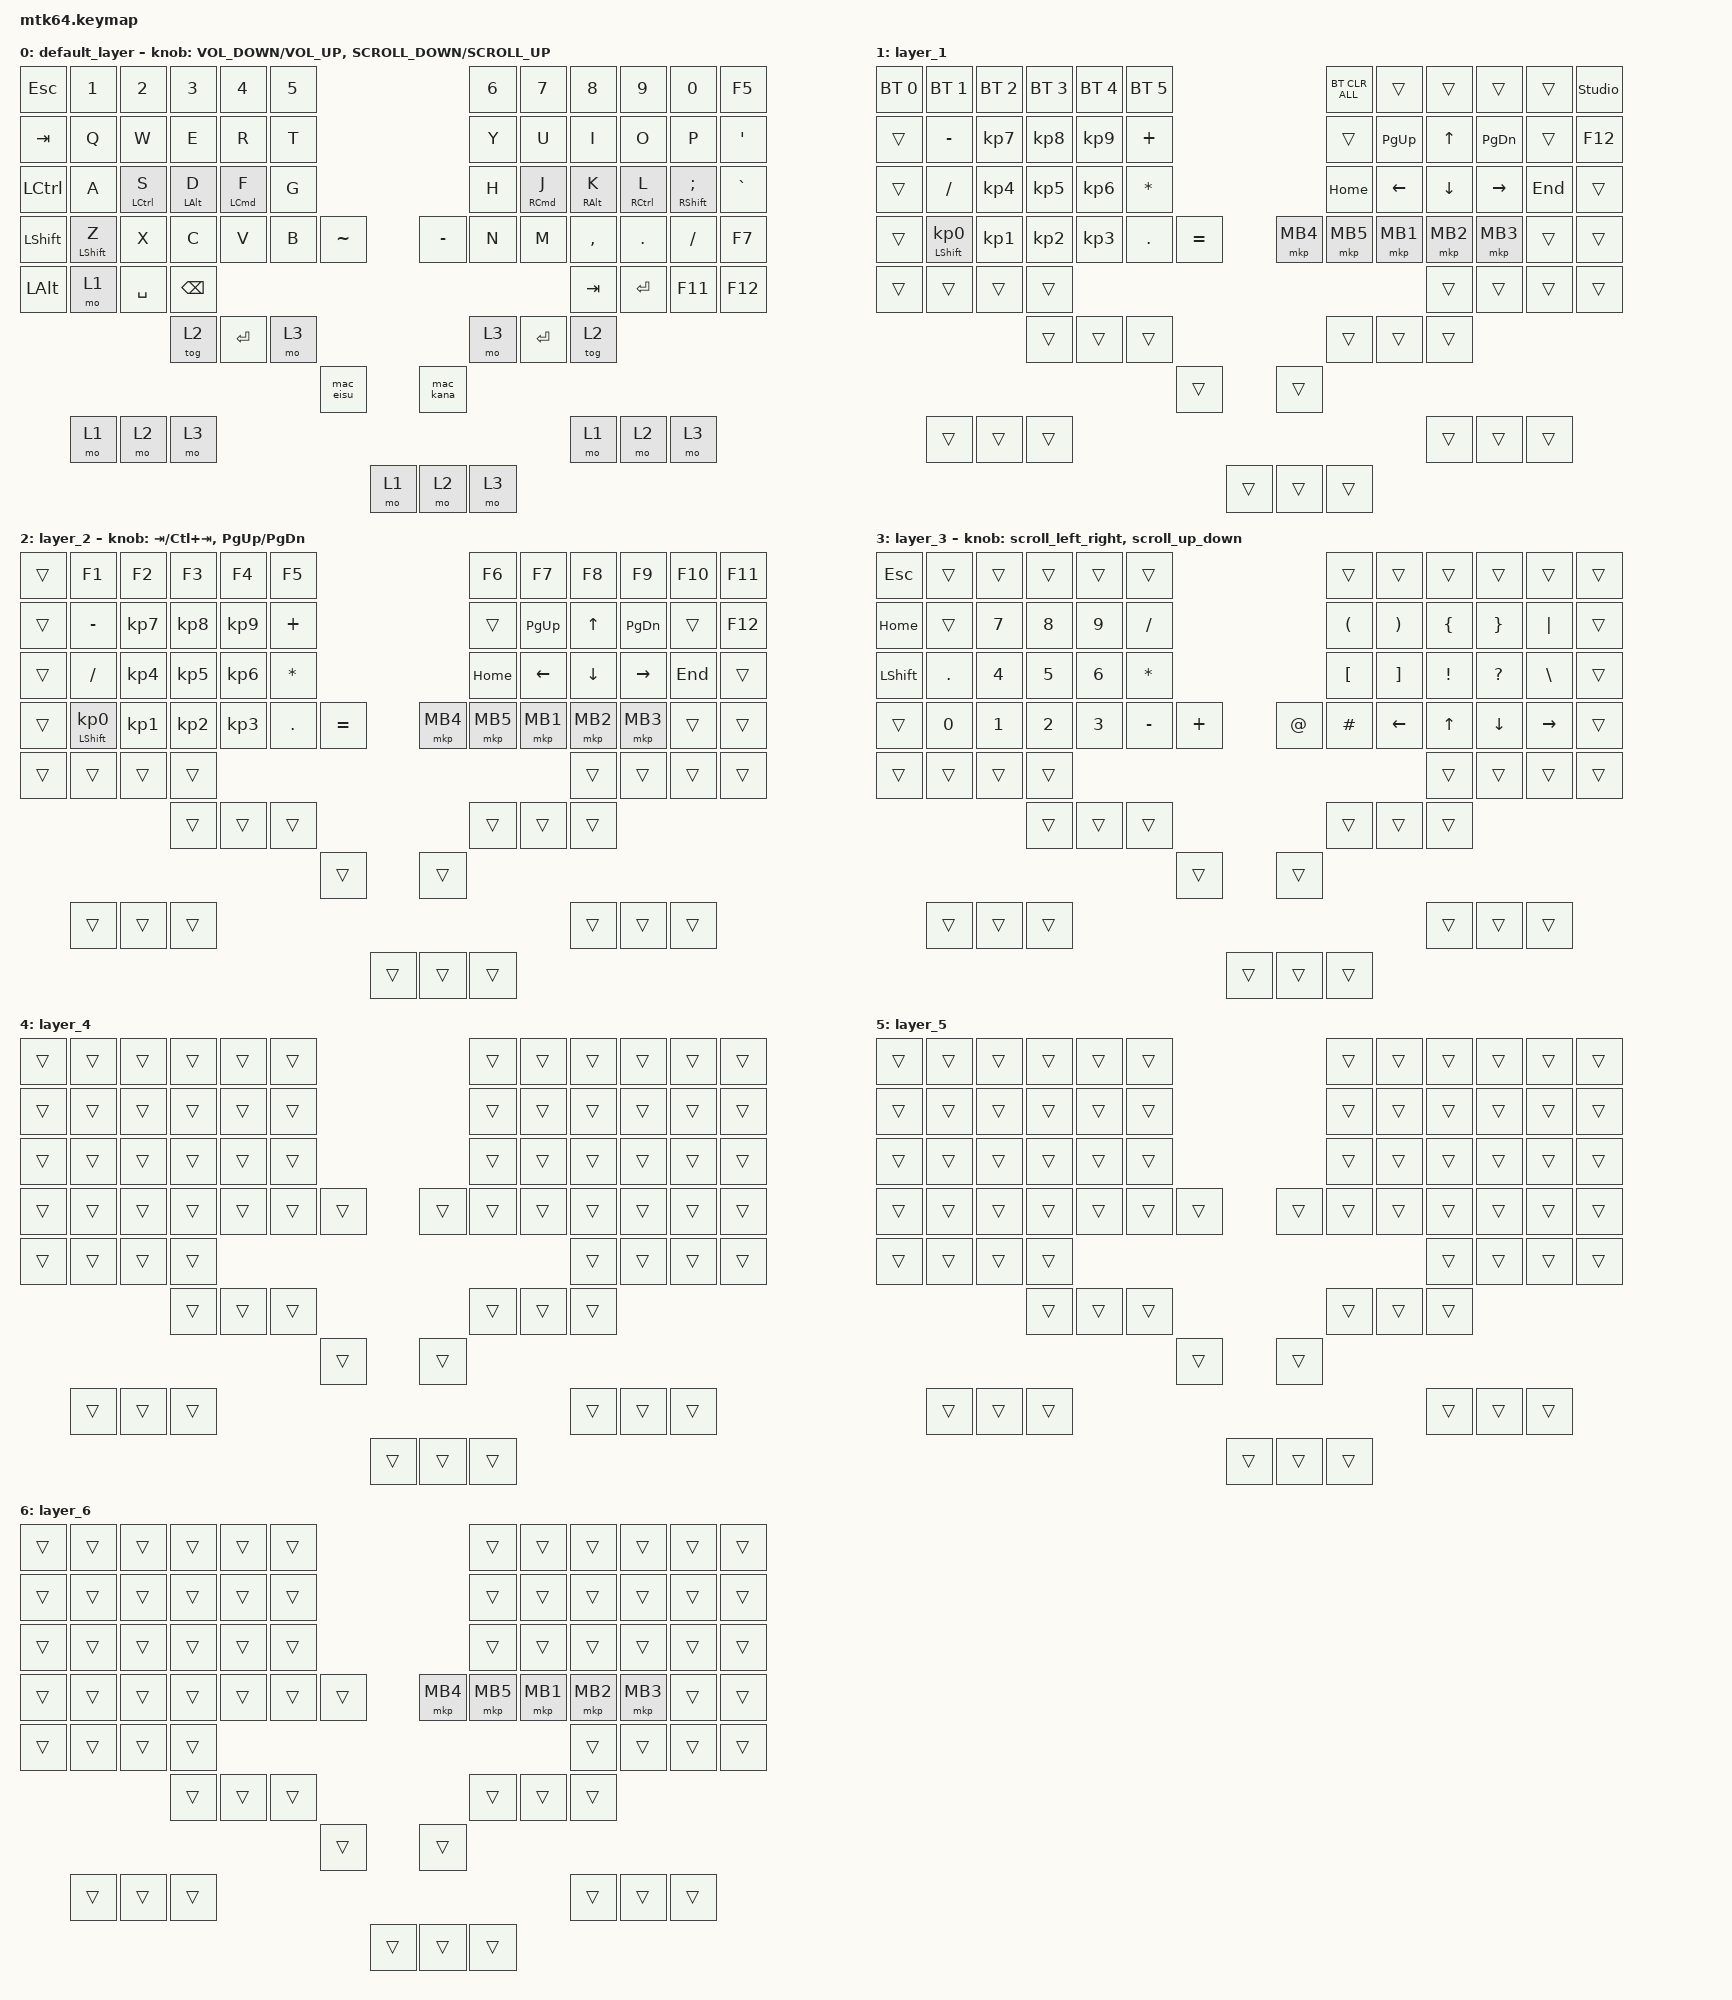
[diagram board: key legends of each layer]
#include <input/processors.dtsi>
#include <behaviors.dtsi>
#include <dt-bindings/zmk/bt.h>
#include <dt-bindings/zmk/keys.h>
#include <dt-bindings/zmk/pointing.h>
#include "keycode_japanese.h"

// スクロール量の設定

#define ZMK_POINTING_DEFAULT_SCRL_VAL 100

&mt {
    flavor = "balanced";
    tapping-term-ms = <400>;
    quick-tap-ms = <0>;
};

&mkp_input_listener { input-processors = <&zip_temp_layer 6 2000>; };

/ {
    behaviors {
        // 垂直スクロール用のbehaviorの設定

        scroll_up_down: behavior_sensor_rotate_mouse_wheel_up_down {
            compatible = "zmk,behavior-sensor-rotate";
            #sensor-binding-cells = <0>;
            bindings = <&msc SCRL_UP>, <&msc SCRL_DOWN>;

            tap-ms = <20>; // スクロールのタップ時間
        };

        // 水平スクロール用のbehaviorの設定

        scroll_left_right: behavior_sensor_rotate_mouse_wheel_left_right {
            compatible = "zmk,behavior-sensor-rotate";
            #sensor-binding-cells = <0>;
            bindings = <&msc SCRL_LEFT>, <&msc SCRL_RIGHT>;

            tap-ms = <20>; // スクロールのタップ時間
        };
    };
};

/ {
    combos {
        compatible = "zmk,combos";

        bracket {
            bindings = <&bracket>;
            key-positions = <34 31>;
        };

        equal {
            bindings = <&kp EQUAL>;
            key-positions = <43 44>;
        };
    };

    macros {
        bracket: new_macro {
            compatible = "zmk,behavior-macro";
            #binding-cells = <0>;
            bindings = <&kp LEFT_BRACKET &kp RIGHT_BRACKET>;
            label = "NEW_MACRO";
        };

        // macOS の「英字」「かな」キー相当（環境により効かない場合は中身のキーコードを差し替えてください）

        mac_eisu: mac_eisu {
            compatible = "zmk,behavior-macro";
            #binding-cells = <0>;
            bindings = <&kp LANG2>;
            label = "MAC_EISU";
        };

        mac_kana: mac_kana {
            compatible = "zmk,behavior-macro";
            #binding-cells = <0>;
            bindings = <&kp LANG1>;
            label = "MAC_KANA";
        };
    };

    keymap {
        compatible = "zmk,keymap";

        default_layer {
            bindings = <
&kp ESC    &kp N1            &kp N2              &kp N3          &kp N4              &kp N5                                                              &kp N6  &kp N7               &kp N8           &kp N9               &kp N0                &kp F5
&kp TAB    &kp Q             &kp W               &kp E           &kp R               &kp T                                                               &kp Y   &kp U                &kp I            &kp O                &kp P                 &kp SINGLE_QUOTE
&kp LCTRL  &kp A             &mt LEFT_CONTROL S  &mt LEFT_ALT D  &mt LEFT_COMMAND F  &kp G                                                               &kp H   &mt RIGHT_COMMAND J  &mt RIGHT_ALT K  &mt RIGHT_CONTROL L  &mt RIGHT_SHIFT SEMI  &kp GRAVE
&kp LSHFT  &mt LEFT_SHIFT Z  &kp X               &kp C           &kp V               &kp B   &kp TILDE                                        &kp MINUS  &kp N   &kp M                &kp COMMA        &kp DOT              &kp SLASH             &kp F7
&kp LALT   &mo 1                                                                             &kp SPACE  &kp BACKSPACE                &kp TAB  &kp ENTER                                                                     &kp F11               &kp F12
                                                 &tog 2          &kp ENTER                                             &mo 3         &mo 3                       &kp ENTER            &tog 2
                                                                                                        &mac_eisu                             &mac_kana
           &mo 1             &mo 2               &mo 3                                                                                                                                &mo 1            &mo 2                &mo 3
                                                                                                                       &mo 1  &mo 2  &mo 3
            >;

            sensor-bindings =
                <&inc_dec_kp C_VOLUME_DOWN C_VOLUME_UP>,
                <&inc_dec_kp K_SCROLL_DOWN K_SCROLL_UP>;
        };

        layer_1 {
            bindings = <
&bt BT_SEL 0  &bt BT_SEL 1                &bt BT_SEL 2     &bt BT_SEL 3     &bt BT_SEL 4     &bt BT_SEL 5                                                       &bt BT_CLR_ALL  &trans          &trans          &trans           &trans   &studio_unlock
&trans        &kp MINUS                   &kp KP_NUMBER_7  &kp KP_NUMBER_8  &kp KP_NUMBER_9  &kp PLUS                                                           &trans          &kp PG_UP       &kp UP_ARROW    &kp PG_DN        &trans   &kp F12
&trans        &kp SLASH                   &kp KP_NUMBER_4  &kp KP_NUMBER_5  &kp KP_NUMBER_6  &kp ASTERISK                                                       &kp HOME        &kp LEFT_ARROW  &kp DOWN_ARROW  &kp RIGHT_ARROW  &kp END  &trans
&trans        &mt LEFT_SHIFT KP_NUMBER_0  &kp KP_NUMBER_1  &kp KP_NUMBER_2  &kp KP_NUMBER_3  &kp PERIOD    &kp EQUAL                                  &mkp MB4  &mkp MB5        &mkp MB1        &mkp MB2        &mkp MB3         &trans   &trans
&trans        &trans                                                                                       &trans     &trans                  &trans  &trans                                                                     &trans   &trans
                                                           &trans           &trans                                            &trans          &trans                            &trans          &trans
                                                                                                                      &trans                          &trans
              &trans                      &trans           &trans                                                                                                                               &trans          &trans           &trans
                                                                                                                              &trans  &trans  &trans
            >;
        };

        layer_2 {
            bindings = <
&trans  &kp F1                      &kp F2           &kp F3           &kp F4           &kp F5                                                             &kp F6    &kp F7          &kp F8          &kp F9           &kp F10  &kp F11
&trans  &kp MINUS                   &kp KP_NUMBER_7  &kp KP_NUMBER_8  &kp KP_NUMBER_9  &kp PLUS                                                           &trans    &kp PG_UP       &kp UP_ARROW    &kp PG_DN        &trans   &kp F12
&trans  &kp SLASH                   &kp KP_NUMBER_4  &kp KP_NUMBER_5  &kp KP_NUMBER_6  &kp ASTERISK                                                       &kp HOME  &kp LEFT_ARROW  &kp DOWN_ARROW  &kp RIGHT_ARROW  &kp END  &trans
&trans  &mt LEFT_SHIFT KP_NUMBER_0  &kp KP_NUMBER_1  &kp KP_NUMBER_2  &kp KP_NUMBER_3  &kp PERIOD    &kp EQUAL                                  &mkp MB4  &mkp MB5  &mkp MB1        &mkp MB2        &mkp MB3         &trans   &trans
&trans  &trans                                                                                       &trans     &trans                  &trans  &trans                                                               &trans   &trans
                                                     &trans           &trans                                            &trans          &trans                      &trans          &trans
                                                                                                                &trans                          &trans
        &trans                      &trans           &trans                                                                                                                         &trans          &trans           &trans
                                                                                                                        &trans  &trans  &trans
            >;

            sensor-bindings = <
                &inc_dec_kp TAB LC(TAB) 
                &inc_dec_kp PG_UP PG_DN
            >;
        };

        layer_3 {
            bindings = <
&kp ESCAPE      &trans        &trans        &trans        &trans        &trans                                                               &trans                &trans                 &trans           &trans           &trans           &trans
&kp HOME        &trans        &kp N7        &kp N8        &kp N9        &kp SLASH                                                            &kp LEFT_PARENTHESIS  &kp RIGHT_PARENTHESIS  &kp LEFT_BRACE   &kp RIGHT_BRACE  &kp PIPE         &trans
&kp LEFT_SHIFT  &kp PERIOD    &kp NUMBER_4  &kp N5        &kp NUMBER_6  &kp ASTERISK                                                         &kp LEFT_BRACKET      &kp RIGHT_BRACKET      &kp EXCLAMATION  &kp QUESTION     &kp BACKSLASH    &trans
&trans          &kp NUMBER_0  &kp NUMBER_1  &kp NUMBER_2  &kp NUMBER_3  &kp MINUS     &kp PLUS                                  &kp AT_SIGN  &kp HASH              &kp LEFT_ARROW         &kp UP_ARROW     &kp DOWN_ARROW   &kp RIGHT_ARROW  &trans
&trans          &trans                                                                &trans    &trans                  &trans  &trans                                                                                      &trans           &trans
                                            &trans        &trans                                        &trans          &trans                                     &trans                 &trans
                                                                                                &trans                          &trans
                &trans        &trans        &trans                                                                                                                                        &trans           &trans           &trans
                                                                                                        &trans  &trans  &trans
            >;

            sensor-bindings = <
                &scroll_left_right
                &scroll_up_down
            >;
        };

        layer_4 {
            bindings = <
&trans  &trans  &trans  &trans  &trans  &trans                                                  &trans  &trans  &trans  &trans  &trans  &trans
&trans  &trans  &trans  &trans  &trans  &trans                                                  &trans  &trans  &trans  &trans  &trans  &trans
&trans  &trans  &trans  &trans  &trans  &trans                                                  &trans  &trans  &trans  &trans  &trans  &trans
&trans  &trans  &trans  &trans  &trans  &trans  &trans                                  &trans  &trans  &trans  &trans  &trans  &trans  &trans
&trans  &trans                                  &trans  &trans                  &trans  &trans                                  &trans  &trans
                        &trans  &trans                          &trans          &trans                  &trans  &trans
                                                        &trans                          &trans
        &trans  &trans  &trans                                                                                  &trans  &trans  &trans
                                                                &trans  &trans  &trans
            >;
        };

        layer_5 {
            bindings = <
&trans  &trans  &trans  &trans  &trans  &trans                                                  &trans  &trans  &trans  &trans  &trans  &trans
&trans  &trans  &trans  &trans  &trans  &trans                                                  &trans  &trans  &trans  &trans  &trans  &trans
&trans  &trans  &trans  &trans  &trans  &trans                                                  &trans  &trans  &trans  &trans  &trans  &trans
&trans  &trans  &trans  &trans  &trans  &trans  &trans                                  &trans  &trans  &trans  &trans  &trans  &trans  &trans
&trans  &trans                                  &trans  &trans                  &trans  &trans                                  &trans  &trans
                        &trans  &trans                          &trans          &trans                  &trans  &trans
                                                        &trans                          &trans
        &trans  &trans  &trans                                                                                  &trans  &trans  &trans
                                                                &trans  &trans  &trans
            >;
        };

        layer_6 {
            bindings = <
&trans  &trans  &trans  &trans  &trans  &trans                                                    &trans    &trans    &trans    &trans    &trans  &trans
&trans  &trans  &trans  &trans  &trans  &trans                                                    &trans    &trans    &trans    &trans    &trans  &trans
&trans  &trans  &trans  &trans  &trans  &trans                                                    &trans    &trans    &trans    &trans    &trans  &trans
&trans  &trans  &trans  &trans  &trans  &trans  &trans                                  &mkp MB4  &mkp MB5  &mkp MB1  &mkp MB2  &mkp MB3  &trans  &trans
&trans  &trans                                  &trans  &trans                  &trans  &trans                                            &trans  &trans
                        &trans  &trans                          &trans          &trans                      &trans    &trans
                                                        &trans                          &trans
        &trans  &trans  &trans                                                                                        &trans    &trans    &trans
                                                                &trans  &trans  &trans
            >;
        };
    };
};
